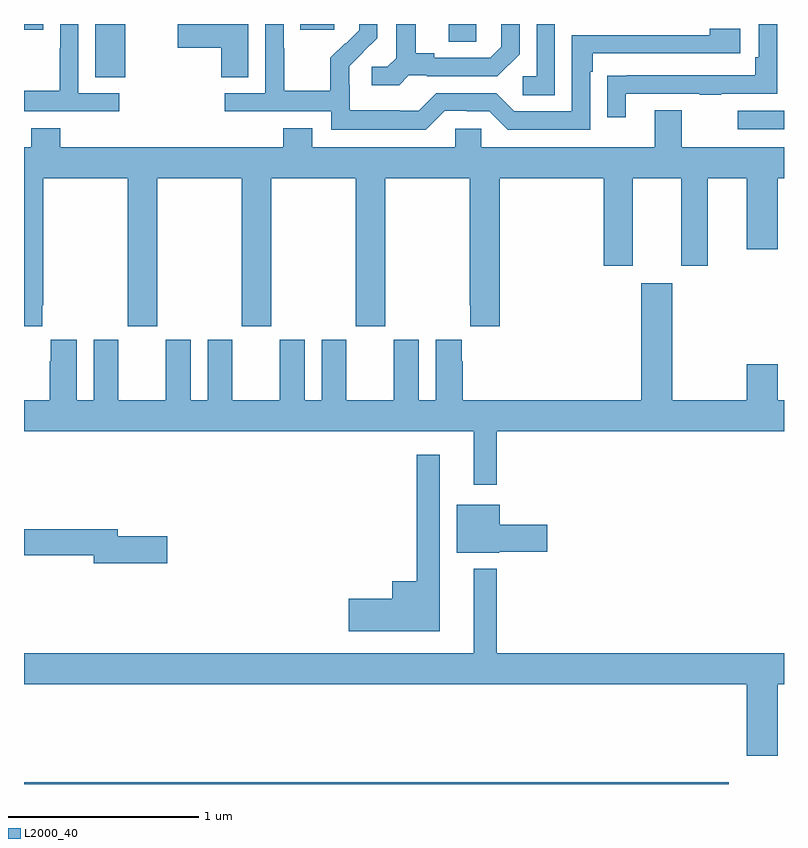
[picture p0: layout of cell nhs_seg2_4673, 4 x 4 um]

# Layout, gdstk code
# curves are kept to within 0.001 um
import gdstk
lib = gdstk.Library(unit=1e-6, precision=1e-09)
def R(c, l, rs):  # rectangles x0, y0, x1, y1
    for r in rs: c.add(gdstk.rectangle(r[:2], r[2:], *l))
def P(c, l, *ps):  # polygons
    for p in ps: c.add(gdstk.Polygon(p, *l))
L2000_40 = (2000, 40)

nhs_seg2_4673 = lib.new_cell('nhs_seg2_4673')
R(nhs_seg2_4673, L2000_40, [(365,625.8,368.708,625.808), (368.757,629.247,369,629.343), (365.375,629.521,365.533,629.8), (367.235,629.707,367.38,629.8), (365,629.769,365.101,629.8), (366.455,629.769,366.634,629.8)])
P(nhs_seg2_4673, L2000_40, [(366.181,629.8),(365.81,629.8),(365.81,629.675),(366.038,629.675),(366.038,629.521),(366.181,629.521)],
  [(367.215,629.343),(367.331,629.343),(367.331,629.34),(367.449,629.34),(367.545,629.244),(367.98,629.244),(367.98,629.549),(367.993,629.549),(367.993,629.646),(368.77,629.646),(368.77,629.776),(368.609,629.776),(368.609,629.742),(367.884,629.742),(367.884,629.34),(367.581,629.34),(367.485,629.436),(367.17,629.436),(367.077,629.343),(366.977,629.343),(366.977,629.347),(366.714,629.347),(366.714,629.481),(366.712,629.481),(366.712,629.578),(366.858,629.726),(366.858,629.8),(366.764,629.8),(366.764,629.768),(366.693,629.697),(366.69,629.7),(366.613,629.623),(366.613,629.449),(366.369,629.449),(366.369,629.672),(366.366,629.672),(366.366,629.8),(366.27,629.8),(366.27,629.436),(366.057,629.436),(366.057,629.34),(366.618,629.34),(366.618,629.243),(367.115,629.243)],
  [(365.5,629.436),(365.286,629.436),(365.286,629.8),(365.19,629.8),(365.19,629.672),(365.188,629.672),(365.188,629.449),(365,629.449),(365,629.34),(365.5,629.34)],
  [(367.794,629.8),(367.698,629.8),(367.698,629.526),(367.626,629.526),(367.626,629.425),(367.794,629.425)],
  [(367.026,629.529),(367.12,629.529),(367.12,629.526),(367.492,629.526),(367.608,629.642),(367.608,629.8),(367.511,629.8),(367.511,629.679),(367.454,629.622),(367.159,629.622),(367.159,629.645),(367.063,629.645),(367.063,629.8),(366.959,629.8),(366.959,629.621),(366.912,629.574),(366.831,629.574),(366.831,629.477),(366.974,629.477)],
  [(368.167,629.433),(368.557,629.433),(368.557,629.428),(368.669,629.428),(368.669,629.433),(368.964,629.433),(368.964,629.8),(368.868,629.8),(368.868,629.626),(368.848,629.626),(368.848,629.529),(368.173,629.529),(368.173,629.528),(368.071,629.528),(368.071,629.31),(368.167,629.31)],
  [(365.095,628.321),(365.1,628.321),(365.1,628.988),(365.545,628.988),(365.545,628.209),(365.7,628.209),(365.7,628.988),(366.145,628.988),(366.145,628.209),(366.3,628.209),(366.3,628.988),(366.745,628.988),(366.745,628.209),(366.9,628.209),(366.9,628.988),(367.345,628.988),(367.345,628.321),(367.349,628.321),(367.349,628.209),(367.505,628.209),(367.505,628.988),(368.051,628.988),(368.051,628.527),(368.203,628.527),(368.203,628.988),(368.459,628.988),(368.459,628.527),(368.599,628.527),(368.599,628.988),(368.804,628.988),(368.804,628.614),(368.968,628.614),(368.968,628.988),(369,628.988),(369,629.152),(368.461,629.152),(368.461,629.347),(368.321,629.347),(368.321,629.152),(367.407,629.152),(367.407,629.25),(367.269,629.25),(367.269,629.152),(366.517,629.152),(366.517,629.251),(366.365,629.251),(366.365,629.152),(365.192,629.152),(365.192,629.251),(365.039,629.251),(365.039,629.152),(365,629.152),(365,628.209),(365.095,628.209)],
  [(367.489,627.656),(369,627.656),(369,627.82),(368.968,627.82),(368.968,628.009),(368.804,628.009),(368.804,627.82),(368.413,627.82),(368.413,628.435),(368.249,628.435),(368.249,627.82),(367.31,627.82),(367.31,628.025),(367.303,628.025),(367.303,628.138),(367.166,628.138),(367.166,627.82),(367.078,627.82),(367.078,628.138),(366.947,628.138),(366.947,627.82),(366.697,627.82),(366.697,628.138),(366.566,628.138),(366.566,627.82),(366.478,627.82),(366.478,628.138),(366.347,628.138),(366.347,627.82),(366.097,627.82),(366.097,628.138),(365.966,628.138),(365.966,627.82),(365.878,627.82),(365.878,628.138),(365.747,628.138),(365.747,627.82),(365.497,627.82),(365.497,628.138),(365.366,628.138),(365.366,627.82),(365.278,627.82),(365.278,628.138),(365.141,628.138),(365.141,628.025),(365.135,628.025),(365.135,627.82),(365,627.82),(365,627.656),(367.367,627.656),(367.367,627.375),(367.489,627.375)],
  [(367.189,627.532),(367.068,627.532),(367.068,626.866),(366.938,626.866),(366.938,626.774),(366.708,626.774),(366.708,626.603),(367.189,626.603)],
  [(367.5,627.023),(367.753,627.023),(367.753,627.165),(367.504,627.165),(367.504,627.271),(367.277,627.271),(367.277,627.017),(367.5,627.017)],
  [(365.755,627.104),(365.494,627.104),(365.494,627.14),(365,627.14),(365,627.004),(365.366,627.004),(365.366,626.962),(365.755,626.962)],
  [(368.968,626.324),(369,626.324),(369,626.488),(367.489,626.488),(367.489,626.932),(367.367,626.932),(367.367,626.488),(365,626.488),(365,626.324),(368.804,626.324),(368.804,625.95),(368.968,625.95)])

lib.write_gds('nhs_seg2_4673.gds')
